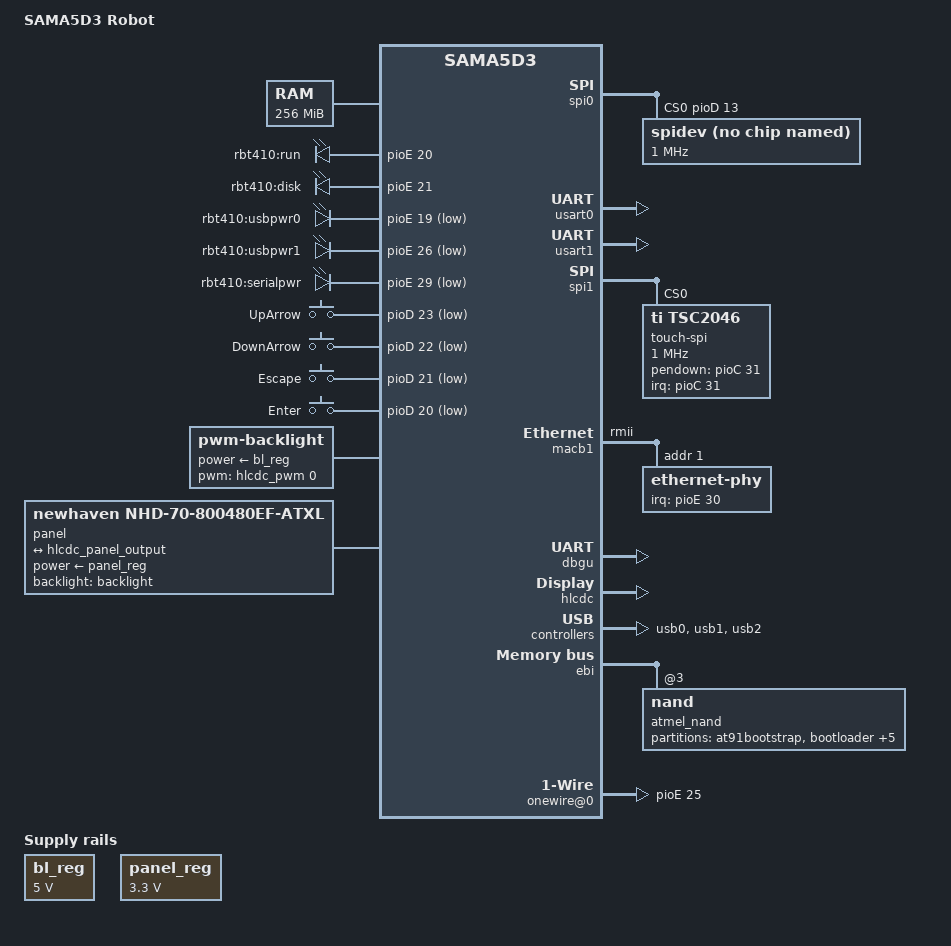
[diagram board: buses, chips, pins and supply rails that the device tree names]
/*
 * at91-sama5d3_xplained.dts - Device Tree file for the SAMA5D3 Xplained board
 *
 *  Copyright (C) 2014 Atmel,
 *		  2014 Nicolas Ferre <nicolas.ferre@atmel.com>
 *
 * Licensed under GPLv2 or later.
 */
/dts-v1/;
#include "sama5d3.dtsi"
#include "sama5d3_emac.dtsi"
#include "sama5d3_lcd.dtsi"
#include "sama5d3_tcb1.dtsi"
#include "sama5d3_uart.dtsi"

/ {
	model = "SAMA5D3 Robot";
	compatible = "atmel,sama5d3-rbt410", "atmel,sama5d3", "atmel,sama5";

	chosen {
		stdout-path = "serial0:115200n8";
	};

	memory {
		reg = <0x20000000 0x10000000>;
	};

	clocks {
		main_xtal {
			clock-frequency = <12000000>;
		};
	};

	ahb {
		apb {
			mmc0: mmc@f0000000 {				
				status = "disabled";				
			};

			mmc1: mmc@f8000000 {
				status = "disabled";				
			};

			spi0: spi@f0004000 {
				cs-gpios = <&pioD 13 0>, <0>, <0>, <0>;
				status = "okay";
				spidev@0 {
					compatible = "linux,spidev";
					spi-max-frequency = <1000000>;
					reg = <0>;
				};
			};

			can0: can@f000c000 {
				status = "disabled";
			};

			tcb0: timer@f0010000 {
				timer0: timer@0 {
					compatible = "atmel,tcb-timer";
					reg = <0>;
				};

				timer1: timer@1 {
					compatible = "atmel,tcb-timer";
					reg = <1>;
				};
			};

			i2c0: i2c@f0014000 {
				status = "disabled";
			};

			i2c1: i2c@f0018000 {
				status = "disabled";
			};

			macb0: ethernet@f0028000 {
				phy-mode = "rgmii";
				#address-cells = <1>;
				#size-cells = <0>;
				status = "disabled";
			};

			pwm0: pwm@f002c000 {
				status = "disabled";
			};

			usart0: serial@f001c000 {
				pinctrl-0 = <&pinctrl_usart0 &pinctrl_usart0_rts_cts>;
				status = "okay";
			};

			usart1: serial@f0020000 {				
				pinctrl-0 = <&pinctrl_usart1 &pinctrl_usart1_rts_cts>;
				status = "okay";
			};

			uart0: serial@f0024000 {
				status = "disabled";
			};

			mmc1: mmc@f8000000 {				
				status = "disabled";
				
			};

			spi1: spi@f8008000 {				
				pinctrl-0 = <&pinctrl_spi1 &pinctrl_spi1_cs0>;
				status = "okay";

				touch-spi@0 {
					pinctrl-0 = <&pinctrl_touch>;
					spi-max-frequency = <1000000>;
					compatible = "ti,tsc2046";
					reg = <0>;
					ti,keep-vref-on = <1>;
					interrupt-parent = <&pioC>;
					interrupts = <31 0x0>;
					pendown-gpio = <&pioC 31 0>;
					

					/* driver defaults */
					ti,x-min = /bits/ 16 <230>;
					ti,y-min = /bits/ 16 <230>;
					ti,x-max = /bits/ 16 <3700>;
					ti,y-max = /bits/ 16 <3900>;
					ti,pressure-min = /bits/ 16 <0>;
					ti,pressure-max = /bits/ 16 <1000>;
					ti,x-plate-ohms = /bits/ 16 <400>;
					ti,swap-xy = <1>;
					ti,debounce-max = /bits/ 16 <30>;
					ti,debounce-tol = /bits/ 16 <10>;
					ti,debounce-rep = /bits/ 16 <1>;

					/* other options 
					ti,vref-delay-usecs
					ti,vref-mv
					
					ti,settle-delay-usec
					ti,penirq-recheck-delay-usecs
					ti,y-plate-ohms
					ti,pendown-gpio-debounce
					linux,wakeup
					*/

				};
			};

			adc0: adc@f8018000 {
				status = "disabled";
			};

			i2c2: i2c@f801c000 {			
				status = "disabled";
			};

			macb1: ethernet@f802c000 {
				phy-mode = "rmii";
				#address-cells = <1>;
				#size-cells = <0>;
				status = "okay";

				ethernet-phy@1 {
					interrupt-parent = <&pioE>;
                    interrupts = <30 IRQ_TYPE_EDGE_FALLING>;
					reg = <0x1>;
				};
			};

			dbgu: serial@ffffee00 {
				status = "okay";
			};

			hlcdc: hlcdc@f0030000 {
				status = "okay";

				hlcdc-display-controller {
					pinctrl-names = "default";
					pinctrl-0 = <&pinctrl_lcd_base &pinctrl_lcd_rgb888_alt>;

					port@0 {
						hlcdc_panel_output: endpoint@0 {
							reg = <0>;
							remote-endpoint = <&panel_input>;
						};
					};
				};
			};

			pinctrl@fffff200 {
				board {

					pinctrl_usba_vbus: usba_vbus {
						atmel,pins =
							<AT91_PIOD 31 AT91_PERIPH_GPIO AT91_PINCTRL_DEGLITCH>;
					};

					pinctrl_usbb_oc: usbb_oc {
						atmel,pins =
							<AT91_PIOE 17 AT91_PERIPH_GPIO AT91_PINCTRL_DEGLITCH>;
					};

					pinctrl_usbc_oc: usbc_oc {
						atmel,pins =
							<AT91_PIOE 24 AT91_PERIPH_GPIO AT91_PINCTRL_DEGLITCH>;
					};
				};

				w1_0 {
					pinctrl_w1_0: w1_0-0 {
						atmel,pins = <AT91_PIOE 25 AT91_PERIPH_GPIO AT91_PINCTRL_PULL_UP>;
					};
				};

				touch-ctrl {
					pinctrl_touch: tci_0-0 {
						atmel,pins = 
							<AT91_PIOC 31 AT91_PERIPH_GPIO AT91_PINCTRL_PULL_UP_DEGLITCH /* pen down irq */
							AT91_PIOC 28 AT91_PERIPH_GPIO AT91_PINCTRL_PULL_UP>; /* busy */
					};
				};

				pwr_ctrl {
					pinctrl_pwr_usb0: pwr_0-0 {
							atmel,pins = <AT91_PIOE 19 AT91_PERIPH_GPIO AT91_PINCTRL_NONE>;
					};

					pinctrl_pwr_usb1: pwr_0-1 {
							atmel,pins = <AT91_PIOE 26 AT91_PERIPH_GPIO AT91_PINCTRL_NONE>;
					};

					pinctrl_pwr_serial: pwr_0-2 {
							atmel,pins = <AT91_PIOE 29 AT91_PERIPH_GPIO AT91_PINCTRL_NONE>;
					};

				};
			};
		};

		usb0: gadget@500000 {
			atmel,vbus-gpio = <&pioD 31 GPIO_ACTIVE_HIGH>;	/* PE9, conflicts with A9 */
			pinctrl-names = "default";
			pinctrl-0 = <&pinctrl_usba_vbus>;
			status = "okay";
		};

		usb1: ohci@600000 {
			num-ports = <1>;
			atmel,vbus-gpio = <&pioE 17 GPIO_ACTIVE_LOW>;
			pinctrl-0 = <&pinctrl_usbb_oc &pinctrl_pwr_usb0>;
			status = "okay";
		};

		usb2: ehci@700000 {
			num-ports = <1>;
			atmel,oc-gpio = <&pioE 24 GPIO_ACTIVE_LOW>;
			pinctrl-names = "default";
			pinctrl-0 = <&pinctrl_usbc_oc &pinctrl_pwr_usb1>;
			status = "okay";
		};

		ebi: ebi@10000000 {
			pinctrl-0 = <&pinctrl_ebi_nand_addr>;
			pinctrl-names = "default";
			status = "okay";

			nand_controller: nand-controller {
				status = "okay";

				nand@3 {
					reg = <0x3 0x0 0x2>;
					atmel,rb = <0>;
					nand-bus-width = <8>;
					nand-ecc-mode = "hw";
					nand-ecc-strength = <4>;
					nand-ecc-step-size = <512>;
					nand-on-flash-bbt;
					label = "atmel_nand";

					partitions {
						compatible = "fixed-partitions";
						#address-cells = <1>;
						#size-cells = <1>;

						at91bootstrap@0 {
							label = "at91bootstrap";
							reg = <0x0 0x40000>;
						};

						bootloader@40000 {
							label = "bootloader";
							reg = <0x40000 0xc0000>;
						};

						bootloaderenvred@100000 {
							label = "bootloader env redundant";
							reg = <0x100000 0x40000>;
						};

						bootloaderenv@140000 {
							label = "bootloader env";
							reg = <0x140000 0x40000>;
						};

						dtb@180000 {
							label = "device tree";
							reg = <0x180000 0x80000>;
						};

						kernel@200000 {
							label = "kernel";
							reg = <0x200000 0x600000>;
						};

						rootfs@800000 {
							label = "rootfs";
							reg = <0x800000 0x0f800000>;
						};
					};
				};
			};
		};
	};

	leds {
		compatible = "gpio-leds";

		run {
			label = "rbt410:run";
			gpios = <&pioE 20 GPIO_ACTIVE_HIGH>;
			linux,default-trigger = "heartbeat";
			default-state = "off";
		};

		disk {
			label = "rbt410:disk";
			gpios = <&pioE 21 GPIO_ACTIVE_HIGH>;
			linux,default-trigger = "nand-disk";
			default-state = "off";
		};

		usbpwr0 {
			label = "rbt410:usbpwr0";
			gpios = <&pioE 19 GPIO_ACTIVE_LOW>;
			default-state = "off"; 
			pinctrl-0 = <&pinctrl_pwr_usb0>;
		};

		usbpwr1 {
			label = "rbt410:usbpwr1";
			gpios = <&pioE 26 GPIO_ACTIVE_LOW>;
			default-state = "off"; 
			pinctrl-0 = <&pinctrl_pwr_usb1>;
		};
		
		serialpwr {
			label = "rbt410:serialpwr";
			gpios = <&pioE 29 GPIO_ACTIVE_LOW>;
			default-state = "off"; 
			pinctrl-0 = <&pinctrl_pwr_serial>;
		};


	};

	gpio_keys {
		compatible = "gpio-keys";
		#address-cells = <1>;
		#size-cells = <0>;		
		

		up {
			label = "UpArrow";
			gpios = <&pioD 23 GPIO_ACTIVE_LOW>;
			linux,code = <103>;
			gpio-key,wakeup;
		};

		down {
			label = "DownArrow";
			gpios = <&pioD 22 GPIO_ACTIVE_LOW>;
			linux,code = <108>;
			gpio-key,wakeup;
		};

		escape {
			label = "Escape";
			gpios = <&pioD 21 GPIO_ACTIVE_LOW>;
			linux,code = <1>;
			gpio-key,wakeup;
		};

		enter {
			label = "Enter";
			gpios = <&pioD 20 GPIO_ACTIVE_LOW>;
			linux,code = <28>;
			gpio-key,wakeup;
		};

	};

	backlight: backlight {
		compatible = "pwm-backlight";
		pwms = <&hlcdc_pwm 0 50000 0>;
		brightness-levels = <0 4 8 16 32 64 128 255>;
		default-brightness-level = <6>;
		power-supply = <&bl_reg>;
		status = "okay";
	};

	bl_reg: backlight_regulator {
		compatible = "regulator-fixed";
		regulator-name = "backlight-power-supply";
		regulator-min-microvolt = <5000000>;
		regulator-max-microvolt = <5000000>;
		status = "okay";
	};

	panel_reg: panel_regulator {
		compatible = "regulator-fixed";
		regulator-name = "panel-power-supply";
		regulator-min-microvolt = <3300000>;
		regulator-max-microvolt = <3300000>;
		status = "okay";
	};

	panel: panel {
		compatible = "newhaven,nhd-70-800480ef-atxl", "simple-panel";
		backlight = <&backlight>;
		power-supply = <&panel_reg>;
		#address-cells = <1>;
		#size-cells = <0>;
		status = "okay";

		port@0 {
			reg = <0>;
			#address-cells = <1>;
			#size-cells = <0>;

			panel_input: endpoint@0 {
				reg = <0>;
				remote-endpoint = <&hlcdc_panel_output>;
			};
		};
	};

	onewire@0 {
		compatible = "w1-gpio";
		gpios = <&pioE 25 GPIO_ACTIVE_LOW>;
		pinctrl-names = "default";
		pinctrl-0 = <&pinctrl_w1_0>;
	};


	
};
